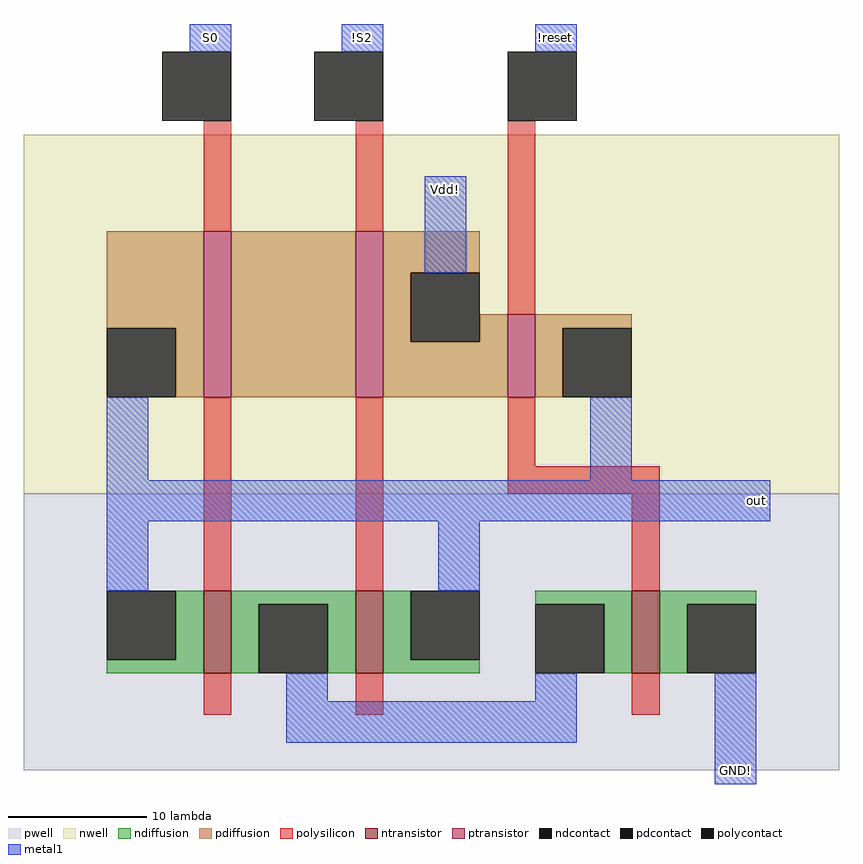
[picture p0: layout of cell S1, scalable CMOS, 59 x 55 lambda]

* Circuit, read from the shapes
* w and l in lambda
.subckt S1 !S2 !reset GND! S0 Vdd! out
M1 n1 S0 out VSUBS nfet w=6 l=2
M2 out !S2 n1 VSUBS nfet w=6 l=2
M3 GND! !reset n1 VSUBS nfet w=6 l=2
M4 n2 S0 out n3 pfet w=12 l=2
M5 Vdd! !S2 n2 n3 pfet w=12 l=2
M6 out !reset Vdd! n3 pfet w=6 l=2
.ends

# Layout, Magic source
magic
tech scmos
<< nwell >>
rect -6 13 53 39
<< pwell >>
rect -6 -7 53 13
<< ntransistor >>
rect 7 0 9 6
rect 18 0 20 6
rect 38 0 40 6
<< ptransistor >>
rect 7 20 9 32
rect 18 20 20 32
rect 29 20 31 26
<< ndiffusion >>
rect 5 1 7 6
rect 0 0 7 1
rect 9 5 18 6
rect 9 0 11 5
rect 16 0 18 5
rect 20 1 22 6
rect 20 0 27 1
rect 31 5 38 6
rect 36 0 38 5
rect 40 5 47 6
rect 40 0 42 5
<< pdiffusion >>
rect 0 25 7 32
rect 5 20 7 25
rect 9 20 18 32
rect 20 29 27 32
rect 20 24 22 29
rect 27 24 29 26
rect 20 20 29 24
rect 31 25 38 26
rect 31 20 33 25
<< ndcontact >>
rect 0 1 5 6
rect 11 0 16 5
rect 22 1 27 6
rect 31 0 36 5
rect 42 0 47 5
<< pdcontact >>
rect 0 20 5 25
rect 22 24 27 29
rect 33 20 38 25
<< polysilicon >>
rect 7 32 9 40
rect 18 32 20 40
rect 29 26 31 40
rect 7 6 9 20
rect 18 6 20 20
rect 29 15 31 20
rect 29 13 40 15
rect 38 6 40 13
rect 7 -3 9 0
rect 18 -3 20 0
rect 38 -3 40 0
<< polycontact >>
rect 4 40 9 45
rect 15 40 20 45
rect 29 40 34 45
<< metal1 >>
rect 6 45 9 47
rect 17 45 20 47
rect 31 45 34 47
rect 23 29 26 36
rect 0 14 3 20
rect 35 14 38 20
rect 0 11 48 14
rect 0 6 3 11
rect 24 6 27 11
rect 13 -2 16 0
rect 31 -2 34 0
rect 13 -5 34 -2
rect 44 -8 47 0
<< labels >>
rlabel metal1 23 34 26 36 1 Vdd!
rlabel metal1 44 -8 47 -6 5 GND!
rlabel metal1 6 45 9 47 1 S0
rlabel metal1 17 45 20 47 1 !S2
rlabel metal1 31 45 34 47 1 !reset
rlabel metal1 46 11 48 14 3 out
<< end >>
